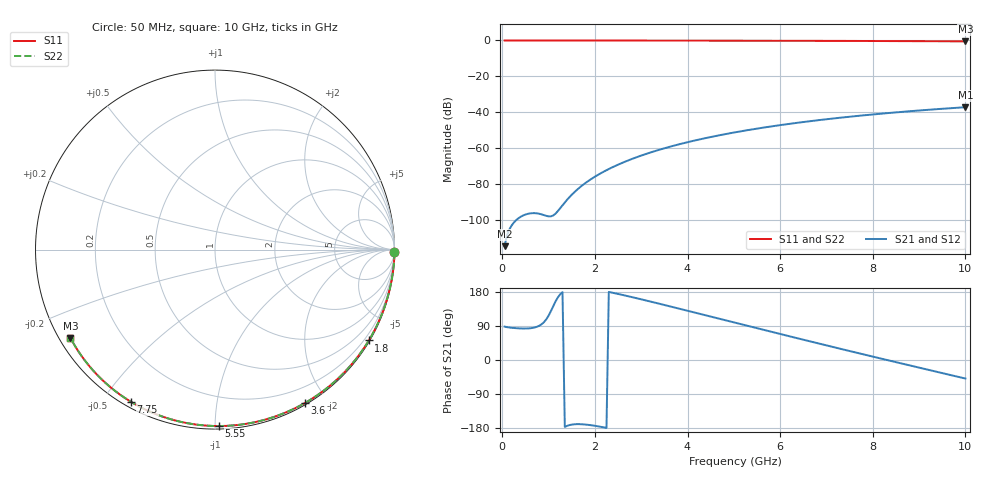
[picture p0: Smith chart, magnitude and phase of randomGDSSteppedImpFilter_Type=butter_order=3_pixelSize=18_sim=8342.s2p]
! freq	dB(S11)	phase(S11)	dB(S12)	phase(S12)
!  dB(S21)	phase(S21)	dB(S22)	phase(S22)
!S-par simulation data
#  GHz  S  DB  R 50
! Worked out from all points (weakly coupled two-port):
!   200 points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, 50 MHz to 10 GHz, reference 50 ohm
!   highest |S21| = -37.21 dB at 10 GHz (marker M1); lowest = -114.7 dB at 50 MHz (marker M2)
!   lowest |S11| = -0.5 dB at 10 GHz (marker M3), VSWR 34.65, Z = 1.56 - j14.1 ohm
!   |S11| at or under -10 dB: nowhere
!   |S22| runs from -0.5 to 0.0 dB; largest |S21 - S12| = 0
!   S11 on the Smith chart (normalised r, x): 50 MHz: open; 1.8 GHz: 0.03, -3.66; 3.6 GHz: 0.02, -1.75; 5.55 GHz: 0.02, -1.02; 7.75 GHz: 0.02, -0.59; 10 GHz: 0.03, -0.28
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0.05  -0.00 -0.9  -114.69 88.2  -114.69 88.2  -0.00 -0.9
0.45  -0.01 -7.8  -97.57 83.1  -97.57 83.1  -0.01 -7.8
0.9  -0.02 -15.4  -97.38 99.9  -97.38 99.9  -0.02 -15.4
1.3  -0.03 -22.2  -91.88 179.2  -91.88 179.2  -0.03 -22.2
1.75  -0.04 -29.7  -80.34 -169.8  -80.34 -169.8  -0.04 -29.7
1.8  -0.04 -30.5  -79.38 -170.4  -79.38 -170.4  -0.04 -30.5
1.95  -0.04 -33.0  -76.75 -172.7  -76.75 -172.7  -0.04 -33.0
2.1  -0.05 -35.5  -74.42 -175.7  -74.42 -175.7  -0.05 -35.5
2.3  -0.05 -38.8  -71.67 179.6  -71.67 179.6  -0.05 -38.8
2.5  -0.05 -42.0  -69.25 174.4  -69.25 174.4  -0.05 -42.0
2.9  -0.06 -48.5  -65.09 163.1  -65.09 163.1  -0.06 -48.5
3.4  -0.08 -56.4  -60.85 148.2  -60.85 148.2  -0.08 -56.4
3.6  -0.08 -59.5  -59.38 142.2  -59.38 142.2  -0.08 -59.5
4.3  -0.10 -70.3  -54.93 120.7  -54.93 120.7  -0.10 -70.3
5.05  -0.13 -81.4  -51.10 97.7  -51.10 97.7  -0.13 -81.4
5.55  -0.15 -88.6  -48.94 82.4  -48.94 82.4  -0.15 -88.6
6.1  -0.17 -96.4  -46.84 65.6  -46.84 65.6  -0.17 -96.4
6.7  -0.20 -104.7  -44.83 47.5  -44.83 47.5  -0.20 -104.7
7.75  -0.28 -118.9  -41.87 16.3  -41.87 16.3  -0.28 -118.9
8.35  -0.33 -126.8  -40.43 -1.3  -40.43 -1.3  -0.33 -126.8
9.2  -0.41 -138.0  -38.65 -25.9  -38.65 -25.9  -0.41 -138.0
10  -0.50 -148.5  -37.21 -48.9  -37.21 -48.9  -0.50 -148.5
